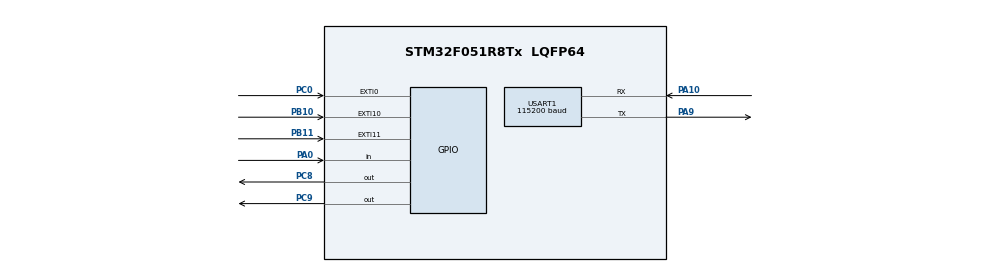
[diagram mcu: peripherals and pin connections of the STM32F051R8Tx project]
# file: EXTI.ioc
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Mcu.Family=STM32F0
Mcu.Name=STM32F051R8Tx
Mcu.Package=LQFP64
NVIC.EXTI0_1_IRQn=true\:0\:0\:false\:true\:true\:2\:true\:true
NVIC.EXTI4_15_IRQn=true\:0\:0\:false\:true\:true\:4\:true\:true
NVIC.TIM6_DAC_IRQn=true\:0\:0\:false\:true\:true\:1\:true\:true
NVIC.USART1_IRQn=true\:0\:0\:false\:true\:true\:3\:true\:true
PA0.Signal=GPIO_Input
PA10.Mode=Asynchronous
PA10.Signal=USART1_RX
PA13.Mode=Serial_Wire
PA13.Signal=SYS_SWDIO
PA14.Mode=Serial_Wire
PA14.Signal=SYS_SWCLK
PA9.Mode=Asynchronous
PA9.Signal=USART1_TX
PB10.GPIO_ModeDefaultEXTI=GPIO_MODE_IT_FALLING
PB10.GPIO_PuPd=GPIO_PULLUP
PB10.Signal=GPXTI10
PB11.GPIO_ModeDefaultEXTI=GPIO_MODE_IT_FALLING
PB11.GPIO_PuPd=GPIO_PULLUP
PB11.Signal=GPXTI11
PC0.GPIO_PuPd=GPIO_PULLUP
PC0.Signal=GPXTI0
PC8.Signal=GPIO_Output
PC9.Signal=GPIO_Output
ProjectManager.HeapSize=0x200
ProjectManager.StackSize=0x400
ProjectManager.TargetToolchain=MDK-ARM V5.27
TIM6.AutoReloadPreload=TIM_AUTORELOAD_PRELOAD_ENABLE
TIM6.Period=9990
TIM6.Prescaler=7999
USART1.BaudRate=115200
USART1.VirtualMode-Asynchronous=VM_ASYNC
VP_TIM6_VS_ClockSourceINT.Mode=Enable_Timer
board=custom

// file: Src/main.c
/* USER CODE BEGIN Header */
/**
  ******************************************************************************
  * @file           : main.c
  * @brief          : Main program body
  ******************************************************************************
  * @attention
  *
  * <h2><center>&copy; Copyright (c) 2020 STMicroelectronics.
  * All rights reserved.</center></h2>
  *
  * This software component is licensed by ST under BSD 3-Clause license,
  * the "License"; You may not use this file except in compliance with the
  * License. You may obtain a copy of the License at:
  *                        opensource.org/licenses/BSD-3-Clause
  *
  ******************************************************************************
  */
/* USER CODE END Header */

#include "main.h"

TIM_HandleTypeDef htim6;

UART_HandleTypeDef huart1;

void SystemClock_Config(void);
static void MX_GPIO_Init(void);
static void MX_TIM6_Init(void);
static void MX_USART1_UART_Init(void);
static void MX_NVIC_Init(void);
/* USER CODE BEGIN PFP */

uint8_t rx_data = 0;
int step = 0;

/* USER CODE END PFP */

/* USER CODE BEGIN 0 */
void HAL_GPIO_EXTI_Callback(uint16_t GPIO_Pin)
{
	if(GPIO_Pin == GPIO_PIN_0){
		HAL_GPIO_WritePin(GPIOC, GPIO_PIN_9,GPIO_PIN_SET);
		HAL_TIM_Base_Start_IT(&htim6);
		HAL_Delay(10);
	}

	if(GPIO_Pin == GPIO_PIN_10){
		HAL_GPIO_WritePin(GPIOC, GPIO_PIN_9,GPIO_PIN_SET);
	}

	if(GPIO_Pin == GPIO_PIN_11){
		HAL_GPIO_WritePin(GPIOC, GPIO_PIN_8,GPIO_PIN_SET);
	}

}

void HAL_TIM_PeriodElapsedCallback(TIM_HandleTypeDef *htim)
{
	if(htim->Instance == TIM6){
		if (step < 3){
			step++;
			HAL_GPIO_TogglePin(GPIOC, GPIO_PIN_8);
		}
		else{
			HAL_GPIO_WritePin(GPIOC, GPIO_PIN_8,GPIO_PIN_RESET);
			HAL_GPIO_WritePin(GPIOC, GPIO_PIN_9,GPIO_PIN_RESET);
			step = 0;
			HAL_TIM_Base_Stop_IT(&htim6);
		}
	}
}

void HAL_UART_RxCpltCallback(UART_HandleTypeDef *huart)
{
	if(huart->Instance == USART1){
		HAL_UART_Receive_IT(&huart1, &rx_data, 1);
		HAL_UART_Transmit(&huart1, &rx_data, 1, 10);
	}
}

/* USER CODE END 0 */

int main(void)
{

  /* MCU Configuration--------------------------------------------------------*/

  /* Reset of all peripherals, Initializes the Flash interface and the Systick. */
  HAL_Init();

  /* Configure the system clock */
  SystemClock_Config();

  /* Initialize all configured peripherals */
  MX_GPIO_Init();
  MX_TIM6_Init();
  MX_USART1_UART_Init();

  /* Initialize interrupts */
  MX_NVIC_Init();
  /* USER CODE BEGIN 2 */
	//HAL_TIM_Base_Start_IT(&htim6);
  /* USER CODE END 2 */

  /* Infinite loop */
  while (1)
  {

  }
}

void SystemClock_Config(void)
{
  RCC_OscInitTypeDef RCC_OscInitStruct = {0};
  RCC_ClkInitTypeDef RCC_ClkInitStruct = {0};
  RCC_PeriphCLKInitTypeDef PeriphClkInit = {0};

  /** Initializes the CPU, AHB and APB busses clocks
  */
  RCC_OscInitStruct.OscillatorType = RCC_OSCILLATORTYPE_HSI;
  RCC_OscInitStruct.HSIState = RCC_HSI_ON;
  RCC_OscInitStruct.HSICalibrationValue = RCC_HSICALIBRATION_DEFAULT;
  RCC_OscInitStruct.PLL.PLLState = RCC_PLL_NONE;
  if (HAL_RCC_OscConfig(&RCC_OscInitStruct) != HAL_OK)
  {
    Error_Handler();
  }
  /** Initializes the CPU, AHB and APB busses clocks
  */
  RCC_ClkInitStruct.ClockType = RCC_CLOCKTYPE_HCLK|RCC_CLOCKTYPE_SYSCLK
                              |RCC_CLOCKTYPE_PCLK1;
  RCC_ClkInitStruct.SYSCLKSource = RCC_SYSCLKSOURCE_HSI;
  RCC_ClkInitStruct.AHBCLKDivider = RCC_SYSCLK_DIV1;
  RCC_ClkInitStruct.APB1CLKDivider = RCC_HCLK_DIV1;

  if (HAL_RCC_ClockConfig(&RCC_ClkInitStruct, FLASH_LATENCY_0) != HAL_OK)
  {
    Error_Handler();
  }
  PeriphClkInit.PeriphClockSelection = RCC_PERIPHCLK_USART1;
  PeriphClkInit.Usart1ClockSelection = RCC_USART1CLKSOURCE_PCLK1;
  if (HAL_RCCEx_PeriphCLKConfig(&PeriphClkInit) != HAL_OK)
  {
    Error_Handler();
  }
}

/**
  * @brief NVIC Configuration.
  * @retval None
  */
static void MX_NVIC_Init(void)
{
  /* TIM6_DAC_IRQn interrupt configuration */
  HAL_NVIC_SetPriority(TIM6_DAC_IRQn, 0, 0);
  HAL_NVIC_EnableIRQ(TIM6_DAC_IRQn);
  /* EXTI0_1_IRQn interrupt configuration */
  HAL_NVIC_SetPriority(EXTI0_1_IRQn, 0, 0);
  HAL_NVIC_EnableIRQ(EXTI0_1_IRQn);
  /* USART1_IRQn interrupt configuration */
  HAL_NVIC_SetPriority(USART1_IRQn, 0, 0);
  HAL_NVIC_EnableIRQ(USART1_IRQn);
  /* EXTI4_15_IRQn interrupt configuration */
  HAL_NVIC_SetPriority(EXTI4_15_IRQn, 0, 0);
  HAL_NVIC_EnableIRQ(EXTI4_15_IRQn);
}

static void MX_TIM6_Init(void)
{

  TIM_MasterConfigTypeDef sMasterConfig = {0};

  htim6.Instance = TIM6;
  htim6.Init.Prescaler = 7999;
  htim6.Init.CounterMode = TIM_COUNTERMODE_UP;
  htim6.Init.Period = 9990;
  htim6.Init.AutoReloadPreload = TIM_AUTORELOAD_PRELOAD_ENABLE;
  if (HAL_TIM_Base_Init(&htim6) != HAL_OK)
  {
    Error_Handler();
  }
  sMasterConfig.MasterOutputTrigger = TIM_TRGO_RESET;
  sMasterConfig.MasterSlaveMode = TIM_MASTERSLAVEMODE_DISABLE;
  if (HAL_TIMEx_MasterConfigSynchronization(&htim6, &sMasterConfig) != HAL_OK)
  {
    Error_Handler();
  }

}

static void MX_USART1_UART_Init(void)
{

  huart1.Instance = USART1;
  huart1.Init.BaudRate = 115200;
  huart1.Init.WordLength = UART_WORDLENGTH_8B;
  huart1.Init.StopBits = UART_STOPBITS_1;
  huart1.Init.Parity = UART_PARITY_NONE;
  huart1.Init.Mode = UART_MODE_TX_RX;
  huart1.Init.HwFlowCtl = UART_HWCONTROL_NONE;
  huart1.Init.OverSampling = UART_OVERSAMPLING_16;
  huart1.Init.OneBitSampling = UART_ONE_BIT_SAMPLE_DISABLE;
  huart1.AdvancedInit.AdvFeatureInit = UART_ADVFEATURE_NO_INIT;
  if (HAL_UART_Init(&huart1) != HAL_OK)
  {
    Error_Handler();
  }

}

static void MX_GPIO_Init(void)
{
  GPIO_InitTypeDef GPIO_InitStruct = {0};

  /* GPIO Ports Clock Enable */
  __HAL_RCC_GPIOC_CLK_ENABLE();
  __HAL_RCC_GPIOA_CLK_ENABLE();
  __HAL_RCC_GPIOB_CLK_ENABLE();

  /*Configure GPIO pin Output Level */
  HAL_GPIO_WritePin(GPIOC, GPIO_PIN_8|GPIO_PIN_9, GPIO_PIN_RESET);

  /*Configure GPIO pin : PC0 */
  GPIO_InitStruct.Pin = GPIO_PIN_0;
  GPIO_InitStruct.Mode = GPIO_MODE_IT_RISING;
  GPIO_InitStruct.Pull = GPIO_PULLUP;
  HAL_GPIO_Init(GPIOC, &GPIO_InitStruct);

  /*Configure GPIO pin : PA0 */
  GPIO_InitStruct.Pin = GPIO_PIN_0;
  GPIO_InitStruct.Mode = GPIO_MODE_INPUT;
  GPIO_InitStruct.Pull = GPIO_NOPULL;
  HAL_GPIO_Init(GPIOA, &GPIO_InitStruct);

  /*Configure GPIO pins : PB10 PB11 */
  GPIO_InitStruct.Pin = GPIO_PIN_10|GPIO_PIN_11;
  GPIO_InitStruct.Mode = GPIO_MODE_IT_FALLING;
  GPIO_InitStruct.Pull = GPIO_PULLUP;
  HAL_GPIO_Init(GPIOB, &GPIO_InitStruct);

  /*Configure GPIO pins : PC8 PC9 */
  GPIO_InitStruct.Pin = GPIO_PIN_8|GPIO_PIN_9;
  GPIO_InitStruct.Mode = GPIO_MODE_OUTPUT_PP;
  GPIO_InitStruct.Pull = GPIO_NOPULL;
  GPIO_InitStruct.Speed = GPIO_SPEED_FREQ_LOW;
  HAL_GPIO_Init(GPIOC, &GPIO_InitStruct);

}

void Error_Handler(void)
{
}

/************************ (C) COPYRIGHT STMicroelectronics *****END OF FILE****/
